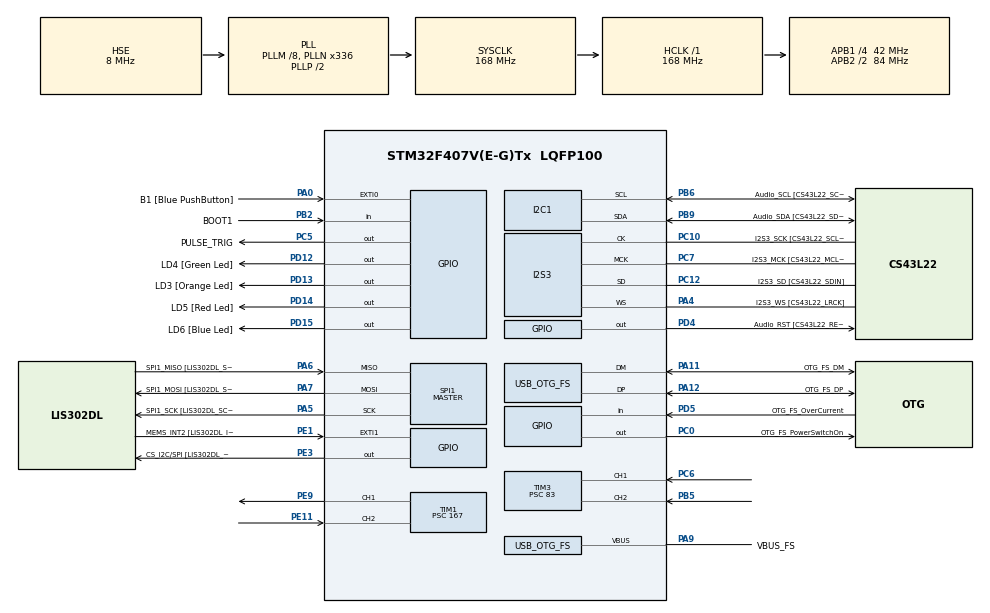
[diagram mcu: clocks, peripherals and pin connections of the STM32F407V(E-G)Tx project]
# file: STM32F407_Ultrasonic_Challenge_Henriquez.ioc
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I2S3.AudioFreq-Half_Duplex_Master=I2S_AUDIOFREQ_96K
I2S3.ErrorAudioFreq=-2.34 %
I2S3.ErrorAudioFreq-Half_Duplex_Master=0.8 %
I2S3.FullDuplexMode=I2S_FULLDUPLEXMODE_DISABLE
I2S3.Instance=SPI$Index
I2S3.RealAudioFreq=93.75 KHz
I2S3.RealAudioFreq-Half_Duplex_Master=96.774 KHz
I2S3.VirtualMode=I2S_MODE_MASTER
Mcu.Family=STM32F4
Mcu.Name=STM32F407V(E-G)Tx
Mcu.Package=LQFP100
NVIC.OTG_FS_IRQn=true\:0\:0\:false\:false\:true\:true\:true\:true
NVIC.PriorityGroup=NVIC_PRIORITYGROUP_0
NVIC.TIM3_IRQn=true\:0\:0\:false\:false\:true\:true\:true\:true
PA0-WKUP.GPIO_Label=B1 [Blue PushButton]
PA0-WKUP.GPIO_ModeDefaultEXTI=GPIO_MODE_EVT_RISING
PA0-WKUP.GPIO_PuPd=GPIO_NOPULL
PA0-WKUP.Signal=GPXTI0
PA10.GPIO_Label=OTG_FS_ID
PA10.GPIO_Mode=GPIO_MODE_AF_PP
PA10.GPIO_PuPd=GPIO_NOPULL
PA10.GPIO_Speed=GPIO_SPEED_FREQ_LOW
PA10.Signal=USB_OTG_FS_ID
PA11.GPIO_Label=OTG_FS_DM
PA11.GPIO_Mode=GPIO_MODE_AF_PP
PA11.GPIO_PuPd=GPIO_NOPULL
PA11.GPIO_Speed=GPIO_SPEED_FREQ_LOW
PA11.Mode=Host_Only
PA11.Signal=USB_OTG_FS_DM
PA12.GPIO_Label=OTG_FS_DP
PA12.GPIO_Mode=GPIO_MODE_AF_PP
PA12.GPIO_PuPd=GPIO_NOPULL
PA12.GPIO_Speed=GPIO_SPEED_FREQ_LOW
PA12.Mode=Host_Only
PA12.Signal=USB_OTG_FS_DP
PA13.GPIO_Label=SWDIO
PA13.Mode=Serial_Wire
PA13.Signal=SYS_JTMS-SWDIO
PA14.GPIO_Label=SWCLK
PA14.Mode=Serial_Wire
PA14.Signal=SYS_JTCK-SWCLK
PA4.GPIO_Label=I2S3_WS [CS43L22_LRCK]
PA4.GPIO_Mode=GPIO_MODE_AF_PP
PA4.GPIO_PuPd=GPIO_NOPULL
PA4.GPIO_Speed=GPIO_SPEED_FREQ_LOW
PA4.Mode=Half_Duplex_Master
PA4.Signal=I2S3_WS
PA5.GPIO_Label=SPI1_SCK [LIS302DL_SCL/SPC]
PA5.GPIO_Mode=GPIO_MODE_AF_PP
PA5.GPIO_PuPd=GPIO_NOPULL
PA5.GPIO_Speed=GPIO_SPEED_FREQ_LOW
PA5.Mode=Full_Duplex_Master
PA5.Signal=SPI1_SCK
PA6.GPIO_Label=SPI1_MISO [LIS302DL_SDO]
PA6.GPIO_Mode=GPIO_MODE_AF_PP
PA6.GPIO_PuPd=GPIO_NOPULL
PA6.GPIO_Speed=GPIO_SPEED_FREQ_LOW
PA6.Mode=Full_Duplex_Master
PA6.Signal=SPI1_MISO
PA7.GPIO_Label=SPI1_MOSI [LIS302DL_SDA/SDI/SDO]
PA7.GPIO_Mode=GPIO_MODE_AF_PP
PA7.GPIO_PuPd=GPIO_NOPULL
PA7.GPIO_Speed=GPIO_SPEED_FREQ_LOW
PA7.Mode=Full_Duplex_Master
PA7.Signal=SPI1_MOSI
PA9.GPIO_Label=VBUS_FS
PA9.GPIO_Mode=GPIO_MODE_INPUT
PA9.GPIO_PuPd=GPIO_NOPULL
PA9.Mode=Activate_VBUS
PA9.Signal=USB_OTG_FS_VBUS
PB10.GPIO_Label=CLK_IN [MP45DT02_CLK]
PB10.GPIO_Mode=GPIO_MODE_AF_PP
PB10.GPIO_PuPd=GPIO_NOPULL
PB10.GPIO_Speed=GPIO_SPEED_FREQ_LOW
PB10.Signal=I2S2_CK
PB2.GPIO_Label=BOOT1
PB2.GPIO_Mode=GPIO_MODE_INPUT
PB2.GPIO_PuPd=GPIO_NOPULL
PB2.Signal=GPIO_Input
PB3.GPIO_Label=SWO
PB3.Signal=SYS_JTDO-SWO
PB5.Signal=S_TIM3_CH2
PB6.GPIO_Label=Audio_SCL [CS43L22_SCL]
PB6.GPIO_Mode=GPIO_MODE_AF_OD
PB6.GPIO_Pu=GPIO_PULLUP
PB6.GPIO_PuPd=GPIO_NOPULL
PB6.GPIO_Speed=GPIO_SPEED_FREQ_LOW
PB6.Mode=I2C
PB6.Signal=I2C1_SCL
PB9.GPIO_Label=Audio_SDA [CS43L22_SDA]
PB9.GPIO_Mode=GPIO_MODE_AF_OD
PB9.GPIO_Pu=GPIO_PULLUP
PB9.GPIO_PuPd=GPIO_NOPULL
PB9.GPIO_Speed=GPIO_SPEED_FREQ_LOW
PB9.Mode=I2C
PB9.Signal=I2C1_SDA
PC0.GPIO_Label=OTG_FS_PowerSwitchOn
PC0.GPIO_PuPd=GPIO_NOPULL
PC0.GPIO_Speed=GPIO_SPEED_FREQ_LOW
PC0.PinState=GPIO_PIN_SET
PC0.Signal=GPIO_Output
PC10.GPIO_Label=I2S3_SCK [CS43L22_SCLK]
PC10.GPIO_Mode=GPIO_MODE_AF_PP
PC10.GPIO_PuPd=GPIO_NOPULL
PC10.GPIO_Speed=GPIO_SPEED_FREQ_LOW
PC10.Mode=Half_Duplex_Master
PC10.Signal=I2S3_CK
PC12.GPIO_Label=I2S3_SD [CS43L22_SDIN]
PC12.GPIO_Mode=GPIO_MODE_AF_PP
PC12.GPIO_PuPd=GPIO_NOPULL
PC12.GPIO_Speed=GPIO_SPEED_FREQ_LOW
PC12.Mode=Half_Duplex_Master
PC12.Signal=I2S3_SD
PC14-OSC32_IN.GPIO_Label=PC14-OSC32_IN
PC14-OSC32_IN.Mode=LSE-External-Oscillator
PC14-OSC32_IN.Signal=RCC_OSC32_IN
PC15-OSC32_OUT.GPIO_Label=PC15-OSC32_OUT
PC15-OSC32_OUT.Mode=LSE-External-Oscillator
PC15-OSC32_OUT.Signal=RCC_OSC32_OUT
PC3.GPIO_Label=PDM_OUT [MP45DT02_DOUT]
PC3.GPIO_Mode=GPIO_MODE_AF_PP
PC3.GPIO_PuPd=GPIO_NOPULL
PC3.GPIO_Speed=GPIO_SPEED_FREQ_LOW
PC3.Signal=I2S2_SD
PC5.GPIO_Label=PULSE_TRIG
PC5.Signal=GPIO_Output
PC6.Signal=S_TIM3_CH1
PC7.GPIO_Label=I2S3_MCK [CS43L22_MCLK]
PC7.GPIO_Mode=GPIO_MODE_AF_PP
PC7.GPIO_PuPd=GPIO_NOPULL
PC7.GPIO_Speed=GPIO_SPEED_FREQ_LOW
PC7.Mode=Master_Clock_Activated
PC7.Signal=I2S3_MCK
PD12.GPIO_Label=LD4 [Green Led]
PD12.GPIO_PuPd=GPIO_NOPULL
PD12.GPIO_Speed=GPIO_SPEED_FREQ_LOW
PD12.Signal=GPIO_Output
PD13.GPIO_Label=LD3 [Orange Led]
PD13.GPIO_PuPd=GPIO_NOPULL
PD13.GPIO_Speed=GPIO_SPEED_FREQ_LOW
PD13.Signal=GPIO_Output
PD14.GPIO_Label=LD5 [Red Led]
PD14.GPIO_PuPd=GPIO_NOPULL
PD14.GPIO_Speed=GPIO_SPEED_FREQ_LOW
PD14.Signal=GPIO_Output
PD15.GPIO_Label=LD6 [Blue Led]
PD15.GPIO_PuPd=GPIO_NOPULL
PD15.GPIO_Speed=GPIO_SPEED_FREQ_LOW
PD15.Signal=GPIO_Output
PD4.GPIO_Label=Audio_RST [CS43L22_RESET]
PD4.GPIO_PuPd=GPIO_NOPULL
PD4.GPIO_Speed=GPIO_SPEED_FREQ_LOW
PD4.Signal=GPIO_Output
PD5.GPIO_Label=OTG_FS_OverCurrent
PD5.GPIO_Mode=GPIO_MODE_INPUT
PD5.GPIO_PuPd=GPIO_NOPULL
PD5.Signal=GPIO_Input
PE1.GPIO_Label=MEMS_INT2 [LIS302DL_INT2]
PE1.GPIO_ModeDefaultEXTI=GPIO_MODE_EVT_RISING
PE1.GPIO_PuPd=GPIO_NOPULL
PE1.Signal=GPXTI1
PE11.Signal=S_TIM1_CH2
PE3.GPIO_Label=CS_I2C/SPI [LIS302DL_CS_I2C/SPI]
PE3.GPIO_PuPd=GPIO_NOPULL
PE3.GPIO_Speed=GPIO_SPEED_FREQ_LOW
PE3.Signal=GPIO_Output
PE9.Signal=S_TIM1_CH1
PH0-OSC_IN.GPIO_Label=PH0-OSC_IN
PH0-OSC_IN.Mode=HSE-External-Oscillator
PH0-OSC_IN.Signal=RCC_OSC_IN
PH1-OSC_OUT.GPIO_Label=PH1-OSC_OUT
PH1-OSC_OUT.Mode=HSE-External-Oscillator
PH1-OSC_OUT.Signal=RCC_OSC_OUT
ProjectManager.HeapSize=0x200
ProjectManager.StackSize=0x400
ProjectManager.TargetToolchain=STM32CubeIDE
RCC.48MHZClocksFreq_Value=48000000
RCC.AHBFreq_Value=168000000
RCC.APB1CLKDivider=RCC_HCLK_DIV4
RCC.APB1Freq_Value=42000000
RCC.APB1TimFreq_Value=84000000
RCC.APB2CLKDivider=RCC_HCLK_DIV2
RCC.APB2Freq_Value=84000000
RCC.APB2TimFreq_Value=168000000
RCC.CortexFreq_Value=168000000
RCC.HCLKFreq_Value=168000000
RCC.HSE_VALUE=8000000
RCC.HSI_VALUE=16000000
RCC.PLLM=8
RCC.PLLN=336
RCC.PLLQ=7
RCC.SYSCLKFreq_VALUE=168000000
RCC.SYSCLKSource=RCC_SYSCLKSOURCE_PLLCLK
RCC.VCOOutputFreq_Value=336000000
SH.S_TIM1_CH1.0=TIM1_CH1,PWM Generation1 CH1
SH.S_TIM1_CH2.0=TIM1_CH2,TriggerSource_TI2FP2
SH.S_TIM3_CH1.0=TIM3_CH1,Input_Capture1_from_TI1
SH.S_TIM3_CH2.0=TIM3_CH2,Input_Capture2_from_TI2
SPI1.BaudRatePrescaler-Full_Duplex_Master=SPI_BAUDRATEPRESCALER_2
SPI1.CalculateBaudRate-Full_Duplex_Master=42.0 MBits/s
SPI1.Direction=SPI_DIRECTION_2LINES
SPI1.Mode=SPI_MODE_MASTER
SPI1.Mode-Full_Duplex_Master=SPI_MODE_MASTER
SPI1.VirtualType=VM_MASTER
TIM1.Channel-PWM\ Generation1\ CH1=TIM_CHANNEL_1
TIM1.OCMode_PWM-PWM\ Generation1\ CH1=TIM_OCMODE_PWM2
TIM1.Period=100-1
TIM1.Prescaler=167
TIM1.Pulse-PWM\ Generation1\ CH1=0
TIM3.Channel-Input_Capture1_from_TI1=TIM_CHANNEL_1
TIM3.Channel-Input_Capture2_from_TI2=TIM_CHANNEL_2
TIM3.ICPolarity_CH2=TIM_INPUTCHANNELPOLARITY_FALLING
TIM3.Prescaler=83
USB_HOST.BSP.number=1
USB_HOST.USBH_HandleTypeDef-CDC_FS=hUsbHostFS
USB_HOST.VirtualModeFS=Cdc
USB_HOST0.BSP.STBoard=false
USB_HOST0.BSP.api=Unknown
USB_HOST0.BSP.instance=PC0
USB_HOST0.BSP.ip=GPIO
USB_HOST0.BSP.mode=Output
USB_HOST0.BSP.name=Drive_VBUS_FS
USB_HOST0.BSP.solution=PC0
USB_OTG_FS.VirtualMode=Host_Only
USB_OTG_FS.phy_itface=HCD_PHY_EMBEDDED
VP_TIM1_VS_ControllerModeTrigger.Mode=Trigger Mode
VP_TIM1_VS_OPM.Mode=OPM_bit
VP_USB_HOST_VS_USB_HOST_CDC_FS.Mode=CDC_FS
board=STM32F407G-DISC1

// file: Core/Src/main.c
/* USER CODE BEGIN Header */
/**
  ******************************************************************************
  * @file           : main.c
  * @brief          : Main program body
  ******************************************************************************
  * @attention
  *
  * Copyright (c) 2025 STMicroelectronics.
  * All rights reserved.
  *
  * This software is licensed under terms that can be found in the LICENSE file
  * in the root directory of this software component.
  * If no LICENSE file comes with this software, it is provided AS-IS.
  *
  ******************************************************************************
  */
/* USER CODE END Header */
#include "main.h"
#include "usb_host.h"

I2C_HandleTypeDef hi2c1;

I2S_HandleTypeDef hi2s3;

SPI_HandleTypeDef hspi1;

TIM_HandleTypeDef htim1;
TIM_HandleTypeDef htim3;

/* USER CODE BEGIN PV */

volatile uint32_t echo_start = 0;
volatile uint32_t echo_end = 0;
volatile uint32_t distance = 0;
volatile uint8_t is_measured = 0;
volatile uint32_t gCounter = 0;

/* USER CODE END PV */

void SystemClock_Config(void);
static void MX_GPIO_Init(void);
static void MX_I2C1_Init(void);
static void MX_I2S3_Init(void);
static void MX_SPI1_Init(void);
static void MX_TIM1_Init(void);
static void MX_TIM3_Init(void);
void MX_USB_HOST_Process(void);

/* USER CODE BEGIN 0 */
void trigger_ultrasonic_pulse();

/* USER CODE END 0 */

int main(void)
{

  /* MCU Configuration--------------------------------------------------------*/

  /* Reset of all peripherals, Initializes the Flash interface and the Systick. */
  HAL_Init();

  /* Configure the system clock */
  SystemClock_Config();

  /* Initialize all configured peripherals */
  MX_GPIO_Init();
  MX_I2C1_Init();
  MX_I2S3_Init();
  MX_SPI1_Init();
  MX_USB_HOST_Init();
  MX_TIM1_Init();
  MX_TIM3_Init();
  /* USER CODE BEGIN 2 */

  //start timer in one pulse mode
  HAL_TIM_IC_Start_IT(&htim3, TIM_CHANNEL_1); // Start timer 3 channel 1 interrupt
  HAL_TIM_IC_Start_IT(&htim3, TIM_CHANNEL_2); // Start timer 3 channel 2 interrupt

  /* USER CODE END 2 */

  /* Infinite loop */
  /* USER CODE BEGIN WHILE */
  while (1)
  {
	  trigger_ultrasonic_pulse(); // Call trigger_ultransonic_pulse to start the measuring

    /* USER CODE END WHILE */
    MX_USB_HOST_Process();

  }
}

void SystemClock_Config(void)
{
  RCC_OscInitTypeDef RCC_OscInitStruct = {0};
  RCC_ClkInitTypeDef RCC_ClkInitStruct = {0};

  /** Configure the main internal regulator output voltage
  */
  __HAL_RCC_PWR_CLK_ENABLE();
  __HAL_PWR_VOLTAGESCALING_CONFIG(PWR_REGULATOR_VOLTAGE_SCALE1);

  /** Initializes the RCC Oscillators according to the specified parameters
  * in the RCC_OscInitTypeDef structure.
  */
  RCC_OscInitStruct.OscillatorType = RCC_OSCILLATORTYPE_HSE;
  RCC_OscInitStruct.HSEState = RCC_HSE_ON;
  RCC_OscInitStruct.PLL.PLLState = RCC_PLL_ON;
  RCC_OscInitStruct.PLL.PLLSource = RCC_PLLSOURCE_HSE;
  RCC_OscInitStruct.PLL.PLLM = 8;
  RCC_OscInitStruct.PLL.PLLN = 336;
  RCC_OscInitStruct.PLL.PLLP = RCC_PLLP_DIV2;
  RCC_OscInitStruct.PLL.PLLQ = 7;
  if (HAL_RCC_OscConfig(&RCC_OscInitStruct) != HAL_OK)
  {
    Error_Handler();
  }

  /** Initializes the CPU, AHB and APB buses clocks
  */
  RCC_ClkInitStruct.ClockType = RCC_CLOCKTYPE_HCLK|RCC_CLOCKTYPE_SYSCLK
                              |RCC_CLOCKTYPE_PCLK1|RCC_CLOCKTYPE_PCLK2;
  RCC_ClkInitStruct.SYSCLKSource = RCC_SYSCLKSOURCE_PLLCLK;
  RCC_ClkInitStruct.AHBCLKDivider = RCC_SYSCLK_DIV1;
  RCC_ClkInitStruct.APB1CLKDivider = RCC_HCLK_DIV4;
  RCC_ClkInitStruct.APB2CLKDivider = RCC_HCLK_DIV2;

  if (HAL_RCC_ClockConfig(&RCC_ClkInitStruct, FLASH_LATENCY_5) != HAL_OK)
  {
    Error_Handler();
  }
}

static void MX_I2C1_Init(void)
{

  hi2c1.Instance = I2C1;
  hi2c1.Init.ClockSpeed = 100000;
  hi2c1.Init.DutyCycle = I2C_DUTYCYCLE_2;
  hi2c1.Init.OwnAddress1 = 0;
  hi2c1.Init.AddressingMode = I2C_ADDRESSINGMODE_7BIT;
  hi2c1.Init.DualAddressMode = I2C_DUALADDRESS_DISABLE;
  hi2c1.Init.OwnAddress2 = 0;
  hi2c1.Init.GeneralCallMode = I2C_GENERALCALL_DISABLE;
  hi2c1.Init.NoStretchMode = I2C_NOSTRETCH_DISABLE;
  if (HAL_I2C_Init(&hi2c1) != HAL_OK)
  {
    Error_Handler();
  }

}

static void MX_I2S3_Init(void)
{

  hi2s3.Instance = SPI3;
  hi2s3.Init.Mode = I2S_MODE_MASTER_TX;
  hi2s3.Init.Standard = I2S_STANDARD_PHILIPS;
  hi2s3.Init.DataFormat = I2S_DATAFORMAT_16B;
  hi2s3.Init.MCLKOutput = I2S_MCLKOUTPUT_ENABLE;
  hi2s3.Init.AudioFreq = I2S_AUDIOFREQ_96K;
  hi2s3.Init.CPOL = I2S_CPOL_LOW;
  hi2s3.Init.ClockSource = I2S_CLOCK_PLL;
  hi2s3.Init.FullDuplexMode = I2S_FULLDUPLEXMODE_DISABLE;
  if (HAL_I2S_Init(&hi2s3) != HAL_OK)
  {
    Error_Handler();
  }

}

static void MX_SPI1_Init(void)
{

  /* SPI1 parameter configuration*/
  hspi1.Instance = SPI1;
  hspi1.Init.Mode = SPI_MODE_MASTER;
  hspi1.Init.Direction = SPI_DIRECTION_2LINES;
  hspi1.Init.DataSize = SPI_DATASIZE_8BIT;
  hspi1.Init.CLKPolarity = SPI_POLARITY_LOW;
  hspi1.Init.CLKPhase = SPI_PHASE_1EDGE;
  hspi1.Init.NSS = SPI_NSS_SOFT;
  hspi1.Init.BaudRatePrescaler = SPI_BAUDRATEPRESCALER_2;
  hspi1.Init.FirstBit = SPI_FIRSTBIT_MSB;
  hspi1.Init.TIMode = SPI_TIMODE_DISABLE;
  hspi1.Init.CRCCalculation = SPI_CRCCALCULATION_DISABLE;
  hspi1.Init.CRCPolynomial = 10;
  if (HAL_SPI_Init(&hspi1) != HAL_OK)
  {
    Error_Handler();
  }

}

static void MX_TIM1_Init(void)
{

  TIM_SlaveConfigTypeDef sSlaveConfig = {0};
  TIM_MasterConfigTypeDef sMasterConfig = {0};
  TIM_OC_InitTypeDef sConfigOC = {0};
  TIM_BreakDeadTimeConfigTypeDef sBreakDeadTimeConfig = {0};

  htim1.Instance = TIM1;
  htim1.Init.Prescaler = 167;
  htim1.Init.CounterMode = TIM_COUNTERMODE_UP;
  htim1.Init.Period = 100-1;
  htim1.Init.ClockDivision = TIM_CLOCKDIVISION_DIV1;
  htim1.Init.RepetitionCounter = 0;
  htim1.Init.AutoReloadPreload = TIM_AUTORELOAD_PRELOAD_DISABLE;
  if (HAL_TIM_Base_Init(&htim1) != HAL_OK)
  {
    Error_Handler();
  }
  if (HAL_TIM_PWM_Init(&htim1) != HAL_OK)
  {
    Error_Handler();
  }
  if (HAL_TIM_OnePulse_Init(&htim1, TIM_OPMODE_SINGLE) != HAL_OK)
  {
    Error_Handler();
  }
  sSlaveConfig.SlaveMode = TIM_SLAVEMODE_TRIGGER;
  sSlaveConfig.InputTrigger = TIM_TS_TI2FP2;
  sSlaveConfig.TriggerPolarity = TIM_TRIGGERPOLARITY_RISING;
  sSlaveConfig.TriggerFilter = 0;
  if (HAL_TIM_SlaveConfigSynchro(&htim1, &sSlaveConfig) != HAL_OK)
  {
    Error_Handler();
  }
  sMasterConfig.MasterOutputTrigger = TIM_TRGO_RESET;
  sMasterConfig.MasterSlaveMode = TIM_MASTERSLAVEMODE_DISABLE;
  if (HAL_TIMEx_MasterConfigSynchronization(&htim1, &sMasterConfig) != HAL_OK)
  {
    Error_Handler();
  }
  sConfigOC.OCMode = TIM_OCMODE_PWM2;
  sConfigOC.Pulse = 0;
  sConfigOC.OCPolarity = TIM_OCPOLARITY_HIGH;
  sConfigOC.OCNPolarity = TIM_OCNPOLARITY_HIGH;
  sConfigOC.OCFastMode = TIM_OCFAST_DISABLE;
  sConfigOC.OCIdleState = TIM_OCIDLESTATE_RESET;
  sConfigOC.OCNIdleState = TIM_OCNIDLESTATE_RESET;
  if (HAL_TIM_PWM_ConfigChannel(&htim1, &sConfigOC, TIM_CHANNEL_1) != HAL_OK)
  {
    Error_Handler();
  }
  sBreakDeadTimeConfig.OffStateRunMode = TIM_OSSR_DISABLE;
  sBreakDeadTimeConfig.OffStateIDLEMode = TIM_OSSI_DISABLE;
  sBreakDeadTimeConfig.LockLevel = TIM_LOCKLEVEL_OFF;
  sBreakDeadTimeConfig.DeadTime = 0;
  sBreakDeadTimeConfig.BreakState = TIM_BREAK_DISABLE;
  sBreakDeadTimeConfig.BreakPolarity = TIM_BREAKPOLARITY_HIGH;
  sBreakDeadTimeConfig.AutomaticOutput = TIM_AUTOMATICOUTPUT_DISABLE;
  if (HAL_TIMEx_ConfigBreakDeadTime(&htim1, &sBreakDeadTimeConfig) != HAL_OK)
  {
    Error_Handler();
  }
  HAL_TIM_MspPostInit(&htim1);

}

static void MX_TIM3_Init(void)
{

  TIM_MasterConfigTypeDef sMasterConfig = {0};
  TIM_IC_InitTypeDef sConfigIC = {0};

  htim3.Instance = TIM3;
  htim3.Init.Prescaler = 83;
  htim3.Init.CounterMode = TIM_COUNTERMODE_UP;
  htim3.Init.Period = 65535;
  htim3.Init.ClockDivision = TIM_CLOCKDIVISION_DIV1;
  htim3.Init.AutoReloadPreload = TIM_AUTORELOAD_PRELOAD_DISABLE;
  if (HAL_TIM_IC_Init(&htim3) != HAL_OK)
  {
    Error_Handler();
  }
  sMasterConfig.MasterOutputTrigger = TIM_TRGO_RESET;
  sMasterConfig.MasterSlaveMode = TIM_MASTERSLAVEMODE_DISABLE;
  if (HAL_TIMEx_MasterConfigSynchronization(&htim3, &sMasterConfig) != HAL_OK)
  {
    Error_Handler();
  }
  sConfigIC.ICPolarity = TIM_INPUTCHANNELPOLARITY_RISING;
  sConfigIC.ICSelection = TIM_ICSELECTION_DIRECTTI;
  sConfigIC.ICPrescaler = TIM_ICPSC_DIV1;
  sConfigIC.ICFilter = 0;
  if (HAL_TIM_IC_ConfigChannel(&htim3, &sConfigIC, TIM_CHANNEL_1) != HAL_OK)
  {
    Error_Handler();
  }
  sConfigIC.ICPolarity = TIM_INPUTCHANNELPOLARITY_FALLING;
  if (HAL_TIM_IC_ConfigChannel(&htim3, &sConfigIC, TIM_CHANNEL_2) != HAL_OK)
  {
    Error_Handler();
  }

}

static void MX_GPIO_Init(void)
{
  GPIO_InitTypeDef GPIO_InitStruct = {0};

  /* GPIO Ports Clock Enable */
  __HAL_RCC_GPIOE_CLK_ENABLE();
  __HAL_RCC_GPIOC_CLK_ENABLE();
  __HAL_RCC_GPIOH_CLK_ENABLE();
  __HAL_RCC_GPIOA_CLK_ENABLE();
  __HAL_RCC_GPIOB_CLK_ENABLE();
  __HAL_RCC_GPIOD_CLK_ENABLE();

  /*Configure GPIO pin Output Level */
  HAL_GPIO_WritePin(CS_I2C_SPI_GPIO_Port, CS_I2C_SPI_Pin, GPIO_PIN_RESET);

  /*Configure GPIO pin Output Level */
  HAL_GPIO_WritePin(OTG_FS_PowerSwitchOn_GPIO_Port, OTG_FS_PowerSwitchOn_Pin, GPIO_PIN_SET);

  /*Configure GPIO pin Output Level */
  HAL_GPIO_WritePin(PULSE_TRIG_GPIO_Port, PULSE_TRIG_Pin, GPIO_PIN_RESET);

  /*Configure GPIO pin Output Level */
  HAL_GPIO_WritePin(GPIOD, LD4_Pin|LD3_Pin|LD5_Pin|LD6_Pin
                          |Audio_RST_Pin, GPIO_PIN_RESET);

  /*Configure GPIO pin : CS_I2C_SPI_Pin */
  GPIO_InitStruct.Pin = CS_I2C_SPI_Pin;
  GPIO_InitStruct.Mode = GPIO_MODE_OUTPUT_PP;
  GPIO_InitStruct.Pull = GPIO_NOPULL;
  GPIO_InitStruct.Speed = GPIO_SPEED_FREQ_LOW;
  HAL_GPIO_Init(CS_I2C_SPI_GPIO_Port, &GPIO_InitStruct);

  /*Configure GPIO pins : OTG_FS_PowerSwitchOn_Pin PULSE_TRIG_Pin */
  GPIO_InitStruct.Pin = OTG_FS_PowerSwitchOn_Pin|PULSE_TRIG_Pin;
  GPIO_InitStruct.Mode = GPIO_MODE_OUTPUT_PP;
  GPIO_InitStruct.Pull = GPIO_NOPULL;
  GPIO_InitStruct.Speed = GPIO_SPEED_FREQ_LOW;
  HAL_GPIO_Init(GPIOC, &GPIO_InitStruct);

  /*Configure GPIO pin : PDM_OUT_Pin */
  GPIO_InitStruct.Pin = PDM_OUT_Pin;
  GPIO_InitStruct.Mode = GPIO_MODE_AF_PP;
  GPIO_InitStruct.Pull = GPIO_NOPULL;
  GPIO_InitStruct.Speed = GPIO_SPEED_FREQ_LOW;
  GPIO_InitStruct.Alternate = GPIO_AF5_SPI2;
  HAL_GPIO_Init(PDM_OUT_GPIO_Port, &GPIO_InitStruct);

  /*Configure GPIO pin : B1_Pin */
  GPIO_InitStruct.Pin = B1_Pin;
  GPIO_InitStruct.Mode = GPIO_MODE_EVT_RISING;
  GPIO_InitStruct.Pull = GPIO_NOPULL;
  HAL_GPIO_Init(B1_GPIO_Port, &GPIO_InitStruct);

  /*Configure GPIO pin : BOOT1_Pin */
  GPIO_InitStruct.Pin = BOOT1_Pin;
  GPIO_InitStruct.Mode = GPIO_MODE_INPUT;
  GPIO_InitStruct.Pull = GPIO_NOPULL;
  HAL_GPIO_Init(BOOT1_GPIO_Port, &GPIO_InitStruct);

  /*Configure GPIO pin : CLK_IN_Pin */
  GPIO_InitStruct.Pin = CLK_IN_Pin;
  GPIO_InitStruct.Mode = GPIO_MODE_AF_PP;
  GPIO_InitStruct.Pull = GPIO_NOPULL;
  GPIO_InitStruct.Speed = GPIO_SPEED_FREQ_LOW;
  GPIO_InitStruct.Alternate = GPIO_AF5_SPI2;
  HAL_GPIO_Init(CLK_IN_GPIO_Port, &GPIO_InitStruct);

  /*Configure GPIO pins : LD4_Pin LD3_Pin LD5_Pin LD6_Pin
                           Audio_RST_Pin */
  GPIO_InitStruct.Pin = LD4_Pin|LD3_Pin|LD5_Pin|LD6_Pin
                          |Audio_RST_Pin;
  GPIO_InitStruct.Mode = GPIO_MODE_OUTPUT_PP;
  GPIO_InitStruct.Pull = GPIO_NOPULL;
  GPIO_InitStruct.Speed = GPIO_SPEED_FREQ_LOW;
  HAL_GPIO_Init(GPIOD, &GPIO_InitStruct);

  /*Configure GPIO pin : OTG_FS_OverCurrent_Pin */
  GPIO_InitStruct.Pin = OTG_FS_OverCurrent_Pin;
  GPIO_InitStruct.Mode = GPIO_MODE_INPUT;
  GPIO_InitStruct.Pull = GPIO_NOPULL;
  HAL_GPIO_Init(OTG_FS_OverCurrent_GPIO_Port, &GPIO_InitStruct);

  /*Configure GPIO pin : MEMS_INT2_Pin */
  GPIO_InitStruct.Pin = MEMS_INT2_Pin;
  GPIO_InitStruct.Mode = GPIO_MODE_EVT_RISING;
  GPIO_InitStruct.Pull = GPIO_NOPULL;
  HAL_GPIO_Init(MEMS_INT2_GPIO_Port, &GPIO_InitStruct);

}

/* USER CODE BEGIN 4 */

/**
  * @brief Triggers the ultrasonic pulse
  * @param None
  * @retval None
  */
void trigger_ultrasonic_pulse()
{
    HAL_TIM_OnePulse_Start(&htim1, TIM_CHANNEL_1);  // Start Timer 1
    HAL_GPIO_WritePin(PULSE_TRIG_GPIO_Port,PULSE_TRIG_Pin,GPIO_PIN_RESET); // Sets trigger pin to 0
    HAL_Delay(200); // Adds delay
    HAL_GPIO_WritePin(PULSE_TRIG_GPIO_Port,PULSE_TRIG_Pin,GPIO_PIN_SET); // Sets trigger pin to 1 to trigger pulse.
}

/**
  * @brief Callback function for Timer 3
  * @param timer
  * @retval None
  */
void HAL_TIM_IC_CaptureCallback(TIM_HandleTypeDef *htim)
{
    if (htim->Instance == TIM3)
    {
    	gCounter++; //increments global counter
        if (htim->Channel == HAL_TIM_ACTIVE_CHANNEL_1)  // If echo is raised, read the timer value
        {
            echo_start = HAL_TIM_ReadCapturedValue(htim, TIM_CHANNEL_1);
        }
        else if (htim->Channel == HAL_TIM_ACTIVE_CHANNEL_2)  // When echo is lowered (wave returned), read the timer value
        {
            echo_end = HAL_TIM_ReadCapturedValue(htim, TIM_CHANNEL_2);

            if (echo_end >= echo_start) // calculate the distance
            {
                uint32_t duration = echo_end - echo_start; // take the duration (1 tick per microsecond)
                distance = (duration * 0.0343) / 2;  // multiply by speed of sound in cm/microsecond
                is_measured = 1; // Change measurement to 1.
            }
        }
    }
}

/* USER CODE END 4 */

void Error_Handler(void)
{
  __disable_irq();
  while (1)
  {
  }
}
